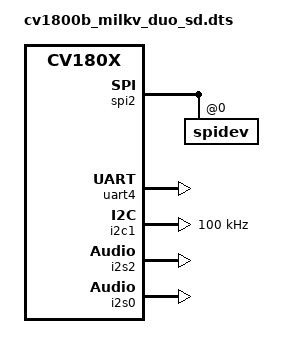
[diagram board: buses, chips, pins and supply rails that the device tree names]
/dts-v1/;
#include "cv180x_base_riscv.dtsi"
#include "cv180x_asic_qfn.dtsi"
#include "cv180x_asic_sd.dtsi"
#include "cv180x_default_memmap.dtsi"

&mipi_rx{
	snsr-reset = <&portc 8 GPIO_ACTIVE_LOW>, <&portc 8 GPIO_ACTIVE_LOW>, <&portc 8 GPIO_ACTIVE_LOW>;
};

&spi2 {
	status = "okay";

	spidev@0 {
		status = "okay";
	};
};

&uart4 {
	status = "okay";
};

&i2c1 {
       status = "okay";
       clock-frequency = <100000>;
};

&i2s2 {
	status = "okay";
	#sound-dai-cells = <0>;
};

&i2s0 {
	status = "okay";
	#sound-dai-cells = <0>;
};

/ {

	/* codec */
	max98357a: max98357a {
		#sound-dai-cells = <0>;
		compatible = "maxim,max98357a";
		status = "okay";
		/*sdmode-gpios = <&gpio1 14 0>;*/ 
		/* max98357a has gain & sd_mode gpio. but codec driver just has sdmode */
	};

	/* machine -- sound card*/
	/* #ifdef CV1835_EXT_CARD_3_EN */
	/* sound_ext3 use external codec */
	sound {
		compatible = "cvitek,cv1835-max98357a";
	};

};

